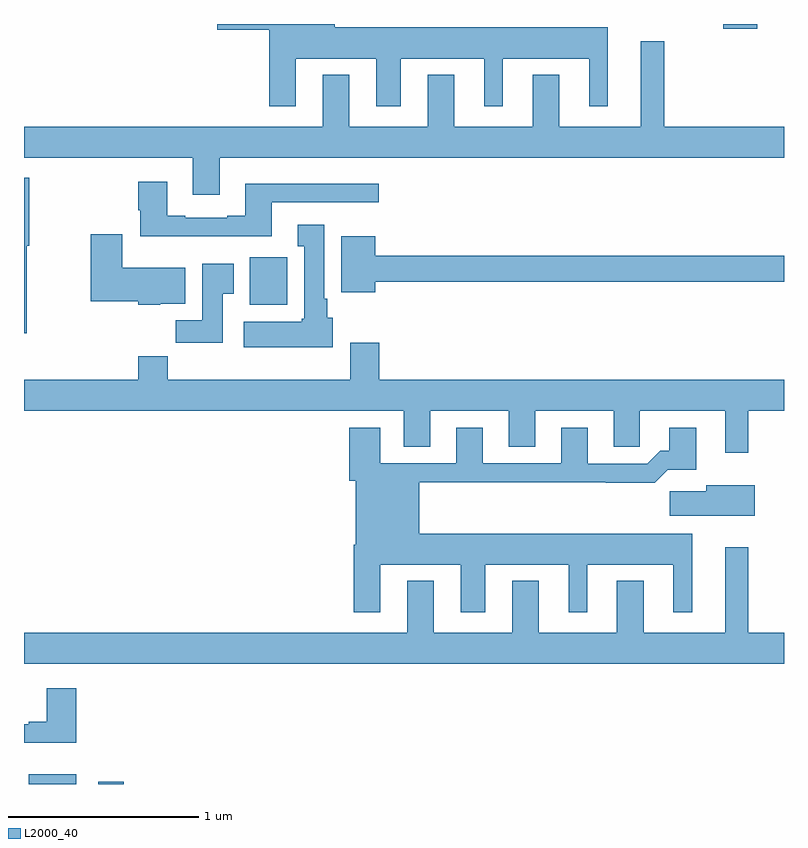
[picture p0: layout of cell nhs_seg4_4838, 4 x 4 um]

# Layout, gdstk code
import gdstk
lib = gdstk.Library(unit=1e-6, precision=1e-09)
def R(c, l, rs):  # rectangles x0, y0, x1, y1
    for r in rs: c.add(gdstk.rectangle(r[:2], r[2:], *l))
def P(c, l, *ps):  # polygons
    for p in ps: c.add(gdstk.Polygon(p, *l))
L2000_40 = (2000, 40)

nhs_seg4_4838 = lib.new_cell('nhs_seg4_4838')
R(nhs_seg4_4838, L2000_40, [(373.025,750.9,373.276,750.952), (373.392,750.9,373.525,750.911), (374.189,753.422,374.385,753.673), (376.681,754.875,376.859,754.9)])
P(nhs_seg4_4838, L2000_40, [(374.431,754.718),(374.855,754.718),(374.855,754.467),(374.983,754.467),(374.983,754.718),(375.422,754.718),(375.422,754.467),(375.52,754.467),(375.52,754.718),(375.974,754.718),(375.974,754.467),(376.072,754.467),(376.072,754.882),(374.635,754.882),(374.635,754.9),(374.016,754.9),(374.016,754.871),(374.291,754.871),(374.291,754.467),(374.431,754.467)],
  [(374.029,754.196),(377,754.196),(377,754.36),(376.369,754.36),(376.369,754.81),(376.247,754.81),(376.247,754.36),(375.817,754.36),(375.817,754.633),(375.677,754.633),(375.677,754.36),(375.265,754.36),(375.265,754.633),(375.125,754.633),(375.125,754.36),(374.713,754.36),(374.713,754.633),(374.573,754.633),(374.573,754.36),(373,754.36),(373,754.196),(373.889,754.196),(373.889,754.002),(374.029,754.002)],
  [(373.015,753.734),(373.028,753.734),(373.028,754.09),(373,754.09),(373,753.272),(373.015,753.272)],
  [(374.305,753.963),(374.866,753.963),(374.866,754.06),(374.165,754.06),(374.165,753.892),(374.069,753.892),(374.069,753.879),(373.849,753.879),(373.849,753.892),(373.753,753.892),(373.753,754.069),(373.601,754.069),(373.601,753.921),(373.613,753.921),(373.613,753.782),(374.305,753.782)],
  [(374.626,753.354),(374.596,753.354),(374.596,753.454),(374.581,753.454),(374.581,753.844),(374.441,753.844),(374.441,753.731),(374.474,753.731),(374.474,753.348),(374.461,753.348),(374.461,753.334),(374.157,753.334),(374.157,753.2),(374.626,753.2)],
  [(373.716,753.428),(373.849,753.428),(373.849,753.616),(373.516,753.616),(373.516,753.793),(373.351,753.793),(373.351,753.44),(373.602,753.44),(373.602,753.422),(373.716,753.422)],
  [(374.848,753.544),(377,753.544),(377,753.68),(374.848,753.68),(374.848,753.784),(374.669,753.784),(374.669,753.488),(374.848,753.488)],
  [(374.047,753.481),(374.104,753.481),(374.104,753.637),(373.937,753.637),(373.937,753.34),(373.798,753.34),(373.798,753.222),(374.047,753.222)],
  [(374.717,753.223),(374.717,753.028),(373.757,753.028),(373.757,753.152),(373.601,753.152),(373.601,753.028),(373,753.028),(373,752.864),(374.999,752.864),(374.999,752.674),(375.139,752.674),(375.139,752.864),(375.551,752.864),(375.551,752.674),(375.691,752.674),(375.691,752.864),(376.103,752.864),(376.103,752.674),(376.242,752.674),(376.242,752.864),(376.691,752.864),(376.691,752.643),(376.813,752.643),(376.813,752.864),(377,752.864),(377,753.028),(374.87,753.028),(374.87,753.223)],
  [(374.875,752.054),(375.299,752.054),(375.299,751.803),(375.427,751.803),(375.427,752.054),(375.866,752.054),(375.866,751.803),(375.964,751.803),(375.964,752.054),(376.418,752.054),(376.418,751.803),(376.516,751.803),(376.516,752.218),(375.079,752.218),(375.079,752.488),(376.063,752.488),(376.063,752.486),(376.319,752.486),(376.388,752.555),(376.537,752.555),(376.537,752.776),(376.397,752.776),(376.397,752.653),(376.348,752.653),(376.281,752.586),(375.967,752.586),(375.967,752.776),(375.827,752.776),(375.827,752.589),(375.415,752.589),(375.415,752.776),(375.275,752.776),(375.275,752.589),(374.875,752.589),(374.875,752.776),(374.711,752.776),(374.711,752.496),(374.747,752.496),(374.747,752.158),(374.735,752.158),(374.735,751.803),(374.875,751.803)],
  [(376.846,752.473),(376.592,752.473),(376.592,752.441),(376.398,752.441),(376.398,752.312),(376.846,752.312)],
  [(375.017,751.969),(375.017,751.696),(373,751.696),(373,751.532),(377,751.532),(377,751.696),(376.813,751.696),(376.813,752.146),(376.691,752.146),(376.691,751.696),(376.261,751.696),(376.261,751.969),(376.121,751.969),(376.121,751.696),(375.709,751.696),(375.709,751.969),(375.569,751.969),(375.569,751.696),(375.157,751.696),(375.157,751.969)],
  [(373.274,751.405),(373.121,751.405),(373.121,751.228),(373.025,751.228),(373.025,751.215),(373,751.215),(373,751.118),(373.274,751.118)])

lib.write_gds('nhs_seg4_4838.gds')
